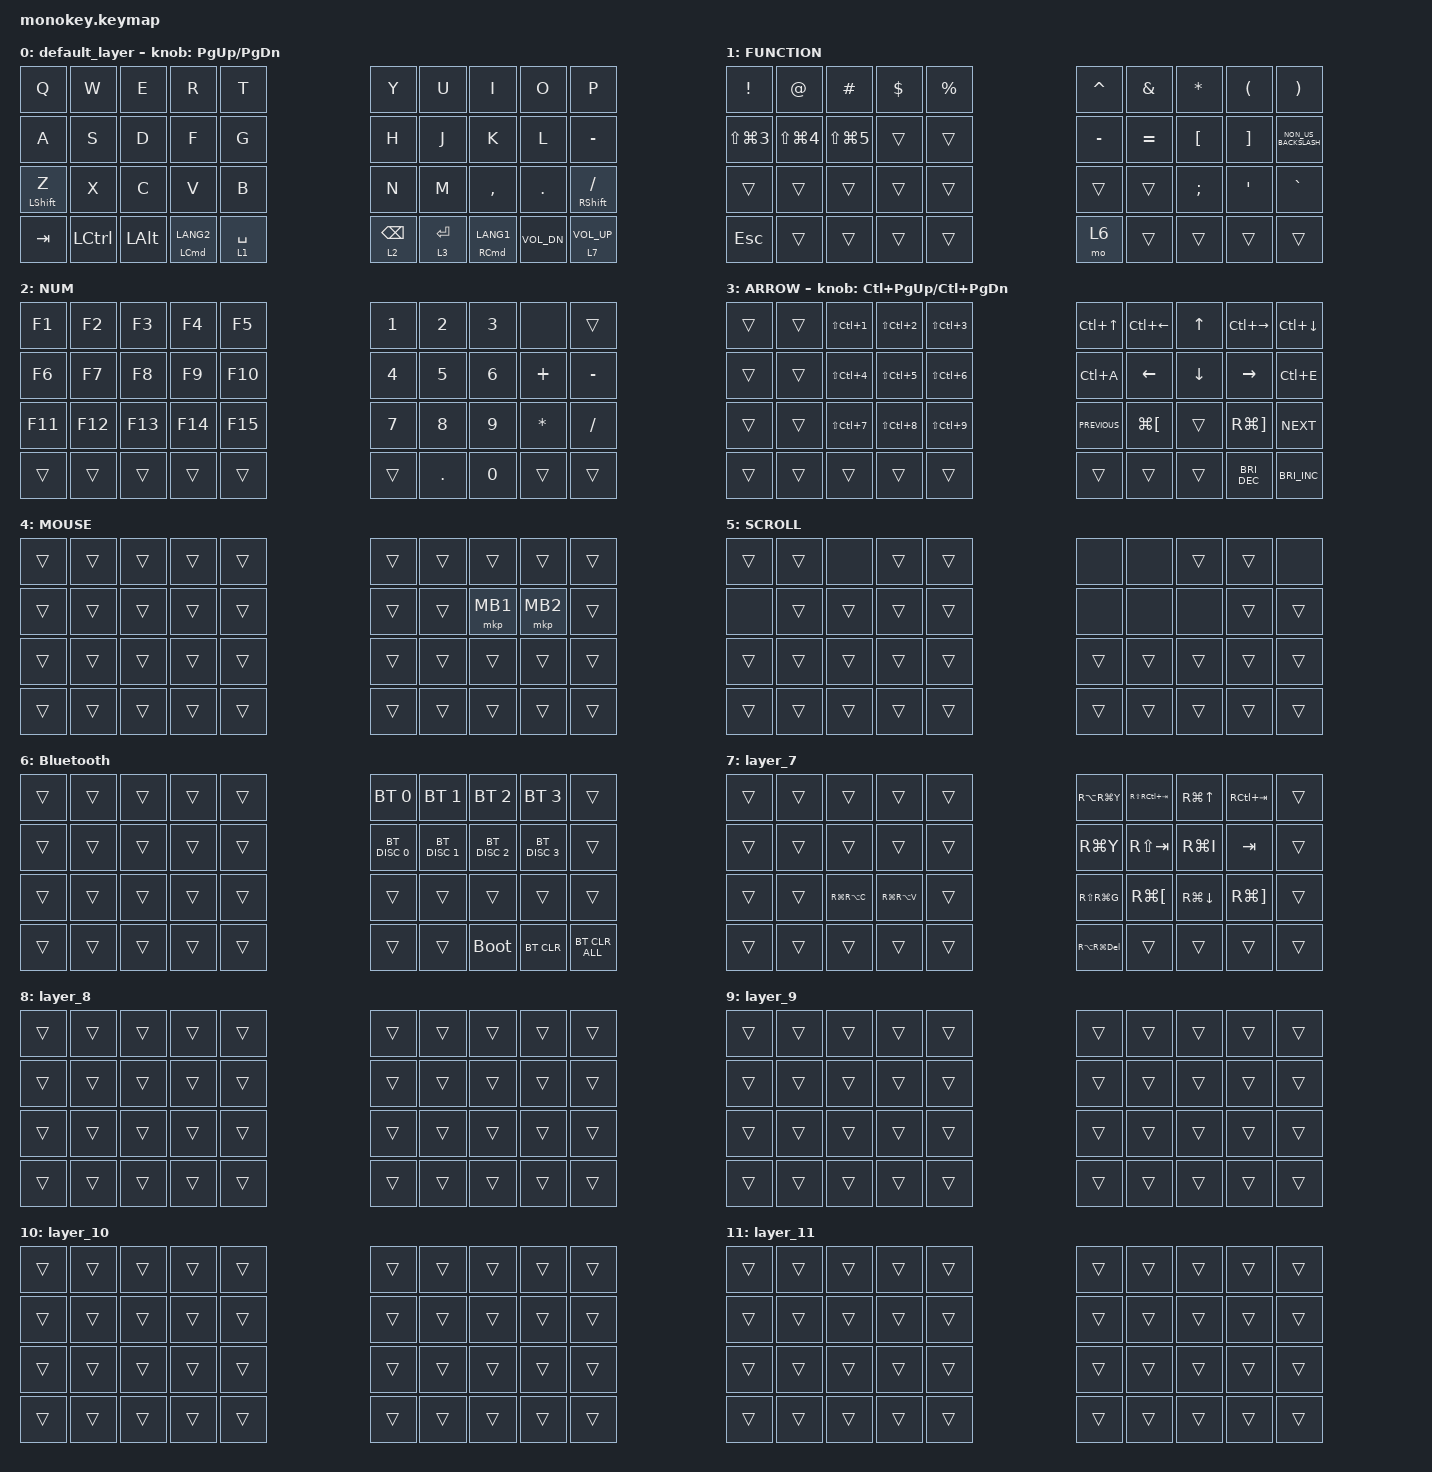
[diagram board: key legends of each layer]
#include <behaviors.dtsi>
#include <dt-bindings/zmk/bt.h>
#include <dt-bindings/zmk/keys.h>
#include <dt-bindings/zmk/pointing.h>

#define MOUSE 4
#define SCROLL 5
#define NUM 6

&mt {
    flavor = "balanced";
    quick-tap-ms = <300>;
};

&lt { quick-tap-ms = <300>; };

/ {
    combos {
        compatible = "zmk,combos";

        scroll {
            bindings = <&mo 5>;
            key-positions = <17 18>;
        };

        mb3 {
            bindings = <&mkp MB3>;
            key-positions = <19 18>;
        };

        mute {
            bindings = <&kp K_MUTE>;
            key-positions = <38 39>;
            layers = <0>;
        };
    };

    behaviors {
        right_click: right_click_behavior {
            compatible = "zmk,behavior-mouse-key";
            label = "RIGHT_CLICK";
            #binding-cells = <0>;

            // 右クリックは通常 MB2 に対応（ZMKの標準定義）

            bindings = <&mkp MB2>;
        };
    };

    keymap {
        compatible = "zmk,keymap";

        default_layer {
            bindings = <
&kp Q             &kp W      &kp E         &kp R                   &kp T                                      &kp Y                    &kp U  &kp I      &kp O         &kp P
&kp A             &kp S      &kp D         &kp F                   &kp G                                      &kp H                    &kp J  &kp K      &kp L         &kp MINUS
&mt LEFT_SHIFT Z  &kp X      &kp C         &kp V                   &kp B                                      &kp N                    &kp M  &kp COMMA  &kp PERIOD    &mt RIGHT_SHIFT SLASH
&kp TAB           &kp LCTRL  &kp LEFT_ALT  &mt LEFT_COMMAND LANG2  &lt 1 SPACE  &lt 2 BACKSPACE  &lt 3 ENTER  &mt RIGHT_COMMAND LANG1                    &kp C_VOL_DN  &lt 7 C_VOL_UP
            >;

            sensor-bindings = <&inc_dec_kp PG_UP PAGE_DOWN>;
        };

        FUNCTION {
            bindings = <
&kp EXCLAMATION       &kp AT_SIGN           &kp HASH        &kp DOLLAR  &kp PERCENT                 &kp CARET  &kp AMPERSAND  &kp ASTERISK      &kp LEFT_PARENTHESIS  &kp RIGHT_PARENTHESIS
&kp LS(LG(NUMBER_3))  &kp LS(LG(NUMBER_4))  &kp LS(LG(N5))  &trans      &trans                      &kp MINUS  &kp EQUAL      &kp LEFT_BRACKET  &kp RIGHT_BRACKET     &kp NON_US_BACKSLASH
&trans                &trans                &trans          &trans      &trans                      &trans     &trans         &kp SEMICOLON     &kp SINGLE_QUOTE      &kp GRAVE
&kp ESCAPE            &trans                &trans          &trans      &trans       &mo 6  &trans  &trans                                      &trans                &trans
            >;
        };

        NUM {
            bindings = <
&kp F1   &kp F2   &kp F3   &kp F4   &kp F5                       &kp NUMBER_1  &kp NUMBER_2  &kp NUMBER_3  &none         &trans
&kp F6   &kp F7   &kp F8   &kp F9   &kp F10                      &kp NUMBER_4  &kp N5        &kp NUMBER_6  &kp PLUS      &kp MINUS
&kp F11  &kp F12  &kp F13  &kp F14  &kp F15                      &kp N7        &kp N8        &kp N9        &kp ASTERISK  &kp SLASH
&trans   &trans   &trans   &trans   &trans   &trans  &kp PERIOD  &kp N0                                    &trans        &trans
            >;
        };

        ARROW {
            bindings = <
&trans  &trans  &kp LS(LC(NUMBER_1))  &kp LS(LC(NUMBER_2))  &kp LS(LC(NUMBER_3))                  &kp LC(UP_ARROW)  &kp LC(LEFT_ARROW)  &kp UP_ARROW    &kp LC(RIGHT)    &kp LC(DOWN_ARROW)
&trans  &trans  &kp LS(LC(NUMBER_4))  &kp LS(LC(N5))        &kp LS(LC(NUMBER_6))                  &kp LC(A)         &kp LEFT_ARROW      &kp DOWN_ARROW  &kp RIGHT_ARROW  &kp LC(E)
&trans  &trans  &kp LS(LC(N7))        &kp LS(LC(N8))        &kp LS(LC(N9))                        &kp C_PREVIOUS    &kp LG(LBKT)        &trans          &kp RG(RBKT)     &kp C_NEXT
&trans  &trans  &trans                &trans                &trans                &trans  &trans  &trans                                                &kp C_BRI_DEC    &kp C_BRI_INC
            >;

            sensor-bindings = <&inc_dec_kp LC(PAGE_UP) LC(PAGE_DOWN)>;
        };

        MOUSE {
            bindings = <
&trans  &trans  &trans  &trans  &trans                  &trans  &trans  &trans    &trans    &trans
&trans  &trans  &trans  &trans  &trans                  &trans  &trans  &mkp MB1  &mkp MB2  &trans
&trans  &trans  &trans  &trans  &trans                  &trans  &trans  &trans    &trans    &trans
&trans  &trans  &trans  &trans  &trans  &trans  &trans  &trans                    &trans    &trans
            >;
        };

        SCROLL {
            bindings = <
&trans  &trans  &none   &trans  &trans                  &none   &none   &trans  &trans  &none
&none   &trans  &trans  &trans  &trans                  &none   &none   &none   &trans  &trans
&trans  &trans  &trans  &trans  &trans                  &trans  &trans  &trans  &trans  &trans
&trans  &trans  &trans  &trans  &trans  &trans  &trans  &trans                  &trans  &trans
            >;
        };

        Bluetooth {
            bindings = <
&trans  &trans  &trans  &trans  &trans                  &bt BT_SEL 0   &bt BT_SEL 1   &bt BT_SEL 2   &bt BT_SEL 3   &trans
&trans  &trans  &trans  &trans  &trans                  &bt BT_DISC 0  &bt BT_DISC 1  &bt BT_DISC 2  &bt BT_DISC 3  &trans
&trans  &trans  &trans  &trans  &trans                  &trans         &trans         &trans         &trans         &trans
&trans  &trans  &trans  &trans  &trans  &trans  &trans  &bootloader                                  &bt BT_CLR     &bt BT_CLR_ALL
            >;
        };

        layer_7 {
            bindings = <
&trans  &trans  &trans         &trans         &trans                           &kp RA(RG(Y))  &kp RS(RC(TAB))       &kp RG(UP_ARROW)    &kp RC(TAB)            &trans
&trans  &trans  &trans         &trans         &trans                           &kp RG(Y)      &kp RS(TAB)           &kp RG(I)           &kp TAB                &trans
&trans  &trans  &kp RG(RA(C))  &kp RG(RA(V))  &trans                           &kp RS(RG(G))  &kp RG(LEFT_BRACKET)  &kp RG(DOWN_ARROW)  &kp RG(RIGHT_BRACKET)  &trans
&trans  &trans  &trans         &trans         &trans  &kp RA(RG(DEL))  &trans  &trans                                                   &trans                 &trans
            >;
        };

        layer_8 {
            bindings = <
&trans  &trans  &trans  &trans  &trans                  &trans  &trans  &trans  &trans  &trans
&trans  &trans  &trans  &trans  &trans                  &trans  &trans  &trans  &trans  &trans
&trans  &trans  &trans  &trans  &trans                  &trans  &trans  &trans  &trans  &trans
&trans  &trans  &trans  &trans  &trans  &trans  &trans  &trans                  &trans  &trans
            >;
        };

        layer_9 {
            bindings = <
&trans  &trans  &trans  &trans  &trans                  &trans  &trans  &trans  &trans  &trans
&trans  &trans  &trans  &trans  &trans                  &trans  &trans  &trans  &trans  &trans
&trans  &trans  &trans  &trans  &trans                  &trans  &trans  &trans  &trans  &trans
&trans  &trans  &trans  &trans  &trans  &trans  &trans  &trans                  &trans  &trans
            >;
        };

        layer_10 {
            bindings = <
&trans  &trans  &trans  &trans  &trans                  &trans  &trans  &trans  &trans  &trans
&trans  &trans  &trans  &trans  &trans                  &trans  &trans  &trans  &trans  &trans
&trans  &trans  &trans  &trans  &trans                  &trans  &trans  &trans  &trans  &trans
&trans  &trans  &trans  &trans  &trans  &trans  &trans  &trans                  &trans  &trans
            >;
        };

        layer_11 {
            bindings = <
&trans  &trans  &trans  &trans  &trans                  &trans  &trans  &trans  &trans  &trans
&trans  &trans  &trans  &trans  &trans                  &trans  &trans  &trans  &trans  &trans
&trans  &trans  &trans  &trans  &trans                  &trans  &trans  &trans  &trans  &trans
&trans  &trans  &trans  &trans  &trans  &trans  &trans  &trans                  &trans  &trans
            >;
        };
    };
};
